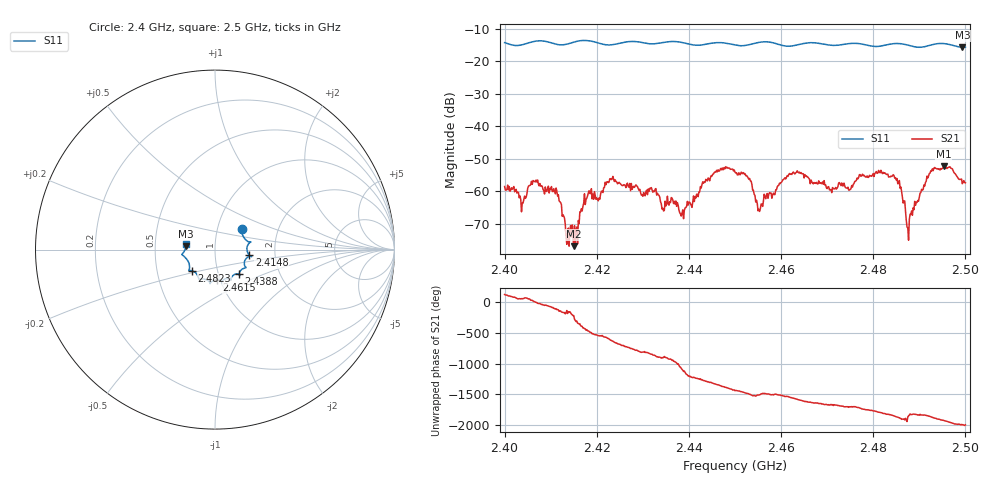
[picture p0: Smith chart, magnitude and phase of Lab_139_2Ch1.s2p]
# Hz S RI R 50
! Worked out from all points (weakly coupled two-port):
!   601 points, 2.4 GHz to 2.5 GHz, reference 50 ohm
!   highest |S21| = -52.37 dB at 2.4953 GHz (marker M1); lowest = -76.9 dB at 2.415 GHz (marker M2)
!   lowest |S11| = -15.8 dB at 2.4993 GHz (marker M3), VSWR 1.39, Z = 36 + j1.32 ohm
!   |S11| at or under -10 dB: start of sweep to end of sweep
!   S12 and S22 are empty: the file has one direction only
!   S11 on the Smith chart (normalised r, x): 2.4 GHz: 1.31, +0.32; 2.4148 GHz: 1.47, -0.10; 2.4388 GHz: 1.25, -0.36; 2.4615 GHz: 0.97, -0.34; 2.4823 GHz: 0.75, -0.18; 2.5 GHz: 0.72, +0.04
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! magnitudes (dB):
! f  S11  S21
! 2.4 GHz  -14.3  -58.5
! 2.4107 GHz  -14.6  -59.2
! 2.4148 GHz  -14.3  -74.1
! 2.415 GHz  -14.2  -76.9
! 2.4167 GHz  -13.7  -65.3
! 2.4232 GHz  -15.0  -56.4
! 2.4333 GHz  -14.5  -61.1
! 2.4388 GHz  -14.4  -68.4
! 2.4458 GHz  -14.3  -54.1
! 2.45 GHz  -15.0  -54.1
! 2.453 GHz  -15.0  -56.3
! 2.4555 GHz  -14.2  -65.4
! 2.4615 GHz  -15.4  -55.4
! 2.4667 GHz  -14.3  -57.1
! 2.4823 GHz  -15.2  -54.5
! 2.4833 GHz  -14.9  -55.6
! 2.4857 GHz  -14.6  -56.7
! 2.4877 GHz  -15.1  -75.0
! 2.4922 GHz  -15.2  -54.5
! 2.4953 GHz  -14.6  -52.4
! 2.4993 GHz  -15.8  -57.7
! 2.5 GHz  -15.7  -57.4
